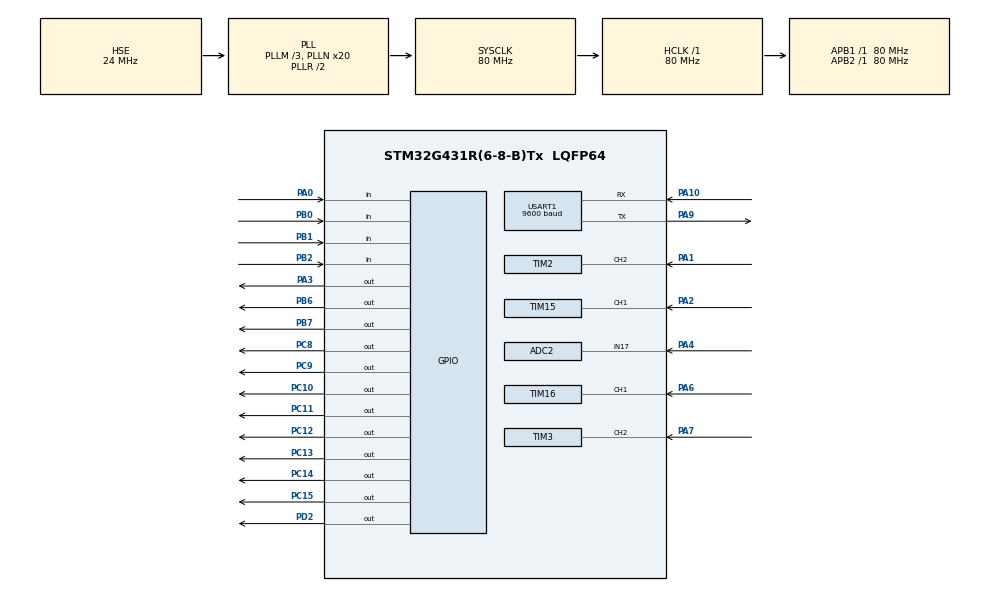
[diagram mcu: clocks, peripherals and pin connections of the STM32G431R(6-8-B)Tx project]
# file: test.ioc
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ADC2.Channel-5\#ChannelRegularConversion=ADC_CHANNEL_17
ADC2.NbrOfConversionFlag=1
ADC2.OffsetNumber-5\#ChannelRegularConversion=ADC_OFFSET_NONE
ADC2.Rank-5\#ChannelRegularConversion=1
ADC2.SamplingTime-5\#ChannelRegularConversion=ADC_SAMPLETIME_640CYCLES_5
Mcu.Family=STM32G4
Mcu.Name=STM32G431R(6-8-B)Tx
Mcu.Package=LQFP64
NVIC.PriorityGroup=NVIC_PRIORITYGROUP_4
NVIC.TIM1_BRK_TIM15_IRQn=true\:0\:0\:false\:false\:true\:true\:true
NVIC.TIM1_TRG_COM_TIM17_IRQn=true\:0\:0\:false\:false\:true\:true\:true
NVIC.TIM1_UP_TIM16_IRQn=true\:0\:0\:false\:false\:true\:true\:true
NVIC.TIM2_IRQn=true\:0\:0\:false\:false\:true\:true\:true
NVIC.TIM3_IRQn=true\:0\:0\:false\:false\:true\:true\:true
NVIC.TIM4_IRQn=true\:0\:0\:false\:false\:true\:true\:true
NVIC.USART1_IRQn=true\:0\:0\:false\:false\:true\:true\:true
PA0.GPIO_PuPd=GPIO_PULLUP
PA0.Signal=GPIO_Input
PA1.Signal=S_TIM2_CH2
PA10.Mode=Asynchronous
PA10.Signal=USART1_RX
PA13.Mode=Serial_Wire
PA13.Signal=SYS_JTMS-SWDIO
PA14.Mode=Serial_Wire
PA14.Signal=SYS_JTCK-SWCLK
PA2.Signal=S_TIM15_CH1
PA3.Signal=GPIO_Output
PA4.Mode=IN17-Single-Ended
PA4.Signal=ADC2_IN17
PA6.Signal=S_TIM16_CH1
PA7.Signal=S_TIM3_CH2
PA9.Mode=Asynchronous
PA9.Signal=USART1_TX
PB0.GPIO_PuPd=GPIO_PULLUP
PB0.Signal=GPIO_Input
PB1.GPIO_PuPd=GPIO_PULLUP
PB1.Signal=GPIO_Input
PB2.GPIO_PuPd=GPIO_PULLUP
PB2.Signal=GPIO_Input
PB6.Signal=GPIO_Output
PB7.GPIO_Speed=GPIO_SPEED_FREQ_HIGH
PB7.Signal=GPIO_Output
PC10.PinState=GPIO_PIN_SET
PC10.Signal=GPIO_Output
PC11.PinState=GPIO_PIN_SET
PC11.Signal=GPIO_Output
PC12.PinState=GPIO_PIN_SET
PC12.Signal=GPIO_Output
PC13.PinState=GPIO_PIN_SET
PC13.Signal=GPIO_Output
PC14-OSC32_IN.PinState=GPIO_PIN_SET
PC14-OSC32_IN.Signal=GPIO_Output
PC15-OSC32_OUT.PinState=GPIO_PIN_SET
PC15-OSC32_OUT.Signal=GPIO_Output
PC8.PinState=GPIO_PIN_SET
PC8.Signal=GPIO_Output
PC9.PinState=GPIO_PIN_SET
PC9.Signal=GPIO_Output
PD2.Signal=GPIO_Output
PF0-OSC_IN.Mode=HSE-External-Oscillator
PF0-OSC_IN.Signal=RCC_OSC_IN
PF1-OSC_OUT.Mode=HSE-External-Oscillator
PF1-OSC_OUT.Signal=RCC_OSC_OUT
ProjectManager.HeapSize=0x200
ProjectManager.StackSize=0x400
ProjectManager.TargetToolchain=MDK-ARM V5.32
RCC.ADC12Freq_Value=80000000
RCC.AHBFreq_Value=80000000
RCC.APB1Freq_Value=80000000
RCC.APB1TimFreq_Value=80000000
RCC.APB2Freq_Value=80000000
RCC.APB2TimFreq_Value=80000000
RCC.CortexFreq_Value=80000000
RCC.EXTERNAL_CLOCK_VALUE=12288000
RCC.HCLKFreq_Value=80000000
RCC.HSE_VALUE=24000000
RCC.HSI48_VALUE=48000000
RCC.HSI_VALUE=16000000
RCC.LSE_VALUE=32768
RCC.PLLM=RCC_PLLM_DIV3
RCC.PLLN=20
RCC.PLLSourceVirtual=RCC_PLLSOURCE_HSE
RCC.RTCClockSelection=RCC_RTCCLKSOURCE_HSE_DIV32
RCC.SYSCLKFreq_VALUE=80000000
RCC.SYSCLKSource=RCC_SYSCLKSOURCE_PLLCLK
RCC.USBFreq_Value=80000000
RCC.VCOOutputFreq_Value=160000000
RTC.AsynchPrediv=125
RTC.Hours=23
RTC.Minutes=59
RTC.Month=RTC_MONTH_MARCH
RTC.Seconds=55
RTC.SynchPrediv=6000
RTC.WeekDay=RTC_WEEKDAY_FRIDAY
RTC.Year=24
SH.S_TIM15_CH1.0=TIM15_CH1,Input_Capture1_from_TI1
SH.S_TIM16_CH1.0=TIM16_CH1,Input_Capture1_from_TI1
SH.S_TIM2_CH2.0=TIM2_CH2,Input_Capture2_from_TI2
SH.S_TIM3_CH2.0=TIM3_CH2,Input_Capture2_from_TI2
TIM15.Channel-Input_Capture1_from_TI1=TIM_CHANNEL_1
TIM15.Prescaler=80-1
TIM16.Channel=TIM_CHANNEL_1
TIM16.ICPolarity_CH1=TIM_INPUTCHANNELPOLARITY_BOTHEDGE
TIM16.PeriodNoDither=65535
TIM16.Prescaler=80-1
TIM17.PeriodNoDither=65535
TIM17.Prescaler=80-1
TIM2.Channel-Input_Capture2_from_TI2=TIM_CHANNEL_2
TIM2.CounterMode=TIM_COUNTERMODE_UP
TIM2.PeriodNoDither=65535
TIM2.Prescaler=80-1
TIM3.Channel-Input_Capture2_from_TI2=TIM_CHANNEL_2
TIM3.ICPolarity_CH2=TIM_INPUTCHANNELPOLARITY_BOTHEDGE
TIM3.Prescaler=80-1
TIM4.PeriodNoDither=10000-1
TIM4.Prescaler=80-1
USART1.BaudRate=9600
USART1.VirtualMode-Asynchronous=VM_ASYNC
VP_RTC_VS_RTC_Activate.Mode=RTC_Enabled
VP_RTC_VS_RTC_Calendar.Mode=RTC_Calendar
VP_SYS_VS_DBSignals.Mode=DisableDeadBatterySignals
VP_TIM15_VS_ClockSourceINT.Mode=Internal
VP_TIM16_VS_ClockSourceINT.Mode=Enable_Timer
VP_TIM17_VS_ClockSourceINT.Mode=Enable_Timer
VP_TIM2_VS_ClockSourceINT.Mode=Internal
VP_TIM3_VS_ClockSourceINT.Mode=Internal
VP_TIM4_VS_ClockSourceINT.Mode=Internal
board=custom

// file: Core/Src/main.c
/* USER CODE BEGIN Header */
/**
 ******************************************************************************
 * @file           : main.c
 * @brief          : Main program body
 ******************************************************************************
 * @attention
 *
 * Copyright (c) 2024 STMicroelectronics.
 * All rights reserved.
 *
 * This software is licensed under terms that can be found in the LICENSE file
 * in the root directory of this software component.
 * If no LICENSE file comes with this software, it is provided AS-IS.
 *
 ******************************************************************************
 */
/* USER CODE END Header */
#include "main.h"
#include "adc.h"
#include "rtc.h"
#include "tim.h"
#include "usart.h"
#include "gpio.h"

/* USER CODE BEGIN Includes */
#include "LED.h"
#include "lcd.h"
#include "stdio.h"
#include "string.h"
#include "Key.h"
#include "interrupt.h"
#include "badc.h"
#include "i2c - hal.h"
#include "PWM.h"
#include "seg_LED.h"
#include "adc_key.h"
#include "ds18b20.h"
#include "dht11.h"
/* USER CODE END Includes */

/* USER CODE BEGIN PTD */

/*执行速度控制变量*/
__IO uint32_t uwTick_LED_Speed_Ctrl;
__IO uint32_t uwTick_KEY_Speed_Ctrl;
__IO uint32_t uwTick_LCD_Speed_Ctrl;
__IO uint32_t uwTick_RTC_Speed_Ctrl;
__IO uint32_t uwTick_Time_Count;

/* USER CODE END PTD */

/* USER CODE BEGIN PD */
/*全局变量区*/
uint8_t ucLED;

uint8_t LCD_String_Disp[21]; // 显示屏显示数据存储数组
uint8_t LCD_Disp_Change = 0; // 显示屏切换界面变量
uint8_t LCD_Line_Change = 0; // 显示屏选择行 1-第一行 2-第二行 3-第三行 默认为0不选择 无高亮文本

uint8_t PA6_duty = 10, PA7_duty = 10;
uint16_t PA6_Frq = 100, PA7_Frq = 200;

uint8_t EEPROM_Save[4] = {10, 10}; // EEPROM芯片中存取的数据
uint8_t EEPROM_Disp[4] = {10, 10}; // EEPROM数据显示数组

uint8_t segBuff[3]; // Seg数码管显示数组

ADC2_ChannelValues adcValues; // ADC多通道扫描数值结构体
uint8_t ADC_Key;              // ADC_KEY按键值

int Ds_Temp; // ds18b20温度值

// DHT11数据   data[0]表示湿度整数 data[1]表示湿度小数 ;data[2]表示温度整数 data[3]表示温度小数；
uint8_t DHT11[4];

uint16_t Light_Value;   // 光敏电阻阻值
uint8_t refesh_flag;    // 刷新数据标志位
uint8_t refesh_ok_flag; // 刷新完成标志位

float a_value, b_value; // 角度数据a 角度数据b
float a_value_old, b_value_old;
float a_value_save[5], b_value_save[5]; // 存储的5个数据，需要根据时间先后排序

uint16_t f_value;         // 频率数据
float ax_value, bx_value; // 角度数据变化量
uint8_t Mode_flag;        // 0--A 按键触发  1--光敏电阻触发

uint16_t Pax_value = 20, Pbx_value = 20, Pf_value = 1000;

// 用于存储时间和日期的结构体
RTC_TimeTypeDef RTC_Time = {0};
RTC_DateTypeDef RTC_Date = {0};
char dateTimeBuffer[50]; // 存储日期时间字符串

/*拓展变量区*/
extern uint8_t single_key_flag[4]; // 按键单击
extern uint8_t double_key_flag[4]; // 按键双击
extern uint8_t long_key_flag[4];   // 按键长按
// extern uint16_t frq1, frq2;        // 输入捕获测量的频率
// extern float duty1, duty2;         // 占空比
extern uint32_t RP[4];

extern char rxdata[30]; // 串口接收数组
extern uint8_t rxdat;
extern unsigned char rx_pointer;

/* USER CODE END PD */

/* USER CODE BEGIN PM */

/*子函数声明区*/

void LCD_Proc(void);
void KEY_Proc(void);
void LED_Proc(void);
void RTC_Proc(void);
void ADC_Proc(void);
void USART_Proc(void);
void Save_digital_Proc(float *str, float value);
void bubbleSort(float arr[], int n);

/* USER CODE END PM */

void SystemClock_Config(void);

int main(void)
{

  /* MCU Configuration--------------------------------------------------------*/

  /* Reset of all peripherals, Initializes the Flash interface and the Systick. */
  HAL_Init();

  /* Configure the system clock */
  SystemClock_Config();

  /* Initialize all configured peripherals */
  MX_GPIO_Init();
  MX_TIM2_Init();
  MX_TIM16_Init();
  MX_TIM17_Init();
  MX_TIM3_Init();
  MX_TIM4_Init();
  MX_ADC2_Init();
  MX_USART1_UART_Init();
  MX_RTC_Init();
  MX_TIM15_Init();
  /* USER CODE BEGIN 2 */

  /*LED灯初始化*/
  LED_Init();

  /*LCD显示屏初始化*/
  LCD_Init();
  LCD_Clear(Black);
  LCD_SetBackColor(Black);
  LCD_SetTextColor(White);

  /*定时器4基本中断开启,按键中断定时器 时间到就进中断检测按键是否按下*/
  HAL_TIM_Base_Start_IT(&htim4);

  // /*定时器16通道1 PWM生成,PA6 引脚PWM生成定时器*/
  // HAL_TIM_PWM_Start(&htim16, TIM_CHANNEL_1);

  // /*定时器17通道1 PWM生成,PA7 引脚PWM生成定时器*/
  // HAL_TIM_PWM_Start(&htim17, TIM_CHANNEL_1);

  /*定时器16通道1 输入捕获中断开启,PA6引脚*/
  HAL_TIM_IC_Start_IT(&htim16, TIM_CHANNEL_1);

  /*定时器17通道1 输入捕获中断开启,PA7引脚*/
  HAL_TIM_IC_Start_IT(&htim17, TIM_CHANNEL_1);

  /*定时器15通道1 输入捕获中断开启,PA2引脚*/
  HAL_TIM_IC_Start_IT(&htim15, TIM_CHANNEL_1);

  // __HAL_TIM_SET_COMPARE(&htim16, TIM_CHANNEL_1, PA6_duty);
  // __HAL_TIM_SET_COMPARE(&htim17, TIM_CHANNEL_1, PA7_duty);

  /*定时器2通道1 输入捕获中断开启,PA15引脚*/
  HAL_TIM_IC_Start_IT(&htim2, TIM_CHANNEL_1);
  /*定时器2通道2 输入捕获中断开启,PA15引脚*/
  HAL_TIM_IC_Start_IT(&htim2, TIM_CHANNEL_2);

  /*定时器3通道1 输入捕获中断开启,PB4引脚*/
  HAL_TIM_IC_Start_IT(&htim3, TIM_CHANNEL_1);
  /*定时器3通道2 输入捕获中断开启,PB4引脚*/
  HAL_TIM_IC_Start_IT(&htim3, TIM_CHANNEL_2);

  // HAL_ADCEx_Calibration_Start(&hadc1, ADC_SINGLE_ENDED); // 校准ADC1，PB12引脚
  HAL_ADCEx_Calibration_Start(&hadc2, ADC_SINGLE_ENDED); // 校准ADC2，PB15引脚

  /********************************串口接收中断开启***********************************************************/
  HAL_UART_Receive_IT(&huart1, &rxdat, 1);

  /********************************EEPROM存储读取***********************************************************/
  I2C_24c02_Read((uint8_t *)&EEPROM_Save[3], 0x37, 1); // 读取一次判断是否第一次上电

  if (EEPROM_Save[3] != 9) // 初次上电 占空比为10，10
  {
    EEPROM_Save[3] = 9; // 将该位的值改为9写入eeprom中 用于判断非第一次上电 确保再次上电读取eeprom中设置的阈值 以免第一次直接赋值0
    I2C_24c02_Write((uint8_t *)&EEPROM_Save[3], 0x37, 1);
    HAL_Delay(10);
    I2C_24c02_Write((uint8_t *)EEPROM_Save, 0x00, 2); // 将阈值写入EEPROM中
  }
  else // 再次上电读取eeprom中设置的阈值 更新显示的阈
  {
    I2C_24c02_Read(EEPROM_Save, 0x00, 2); // 读取EEPROM中的值
    HAL_Delay(10);
    EEPROM_Disp[0] = EEPROM_Save[0];
    EEPROM_Disp[1] = EEPROM_Save[1];
  }
  /********************************EEPROM存储读取***********************************************************/

  /* USER CODE END 2 */

  /* Infinite loop */
  while (1)
  {

    /* USER CODE BEGIN 3 */
    /*代码写在该行下面 否则会被初始化*/

    LCD_Proc();
    KEY_Proc();
    LED_Proc();
    RTC_Proc();
    ADC_Proc();

    if (rx_pointer != 0)
    {
      int temp = rx_pointer;
      HAL_Delay(1);
      if (temp == rx_pointer)
        USART_Proc(); // 完成接收
    }
  }
  /* USER CODE END 3 */
}

void SystemClock_Config(void)
{
  RCC_OscInitTypeDef RCC_OscInitStruct = {0};
  RCC_ClkInitTypeDef RCC_ClkInitStruct = {0};

  /** Configure the main internal regulator output voltage
   */
  HAL_PWREx_ControlVoltageScaling(PWR_REGULATOR_VOLTAGE_SCALE1);
  /** Initializes the RCC Oscillators according to the specified parameters
   * in the RCC_OscInitTypeDef structure.
   */
  RCC_OscInitStruct.OscillatorType = RCC_OSCILLATORTYPE_HSE;
  RCC_OscInitStruct.HSEState = RCC_HSE_ON;
  RCC_OscInitStruct.PLL.PLLState = RCC_PLL_ON;
  RCC_OscInitStruct.PLL.PLLSource = RCC_PLLSOURCE_HSE;
  RCC_OscInitStruct.PLL.PLLM = RCC_PLLM_DIV3;
  RCC_OscInitStruct.PLL.PLLN = 20;
  RCC_OscInitStruct.PLL.PLLP = RCC_PLLP_DIV2;
  RCC_OscInitStruct.PLL.PLLQ = RCC_PLLQ_DIV2;
  RCC_OscInitStruct.PLL.PLLR = RCC_PLLR_DIV2;
  if (HAL_RCC_OscConfig(&RCC_OscInitStruct) != HAL_OK)
  {
    Error_Handler();
  }
  /** Initializes the CPU, AHB and APB buses clocks
   */
  RCC_ClkInitStruct.ClockType = RCC_CLOCKTYPE_HCLK | RCC_CLOCKTYPE_SYSCLK | RCC_CLOCKTYPE_PCLK1 | RCC_CLOCKTYPE_PCLK2;
  RCC_ClkInitStruct.SYSCLKSource = RCC_SYSCLKSOURCE_PLLCLK;
  RCC_ClkInitStruct.AHBCLKDivider = RCC_SYSCLK_DIV1;
  RCC_ClkInitStruct.APB1CLKDivider = RCC_HCLK_DIV1;
  RCC_ClkInitStruct.APB2CLKDivider = RCC_HCLK_DIV1;

  if (HAL_RCC_ClockConfig(&RCC_ClkInitStruct, FLASH_LATENCY_2) != HAL_OK)
  {
    Error_Handler();
  }
}

/* USER CODE BEGIN 4 */

/*****************************************LED灯控制函数***************************************************/
void LED_Proc(void)
{
  if ((uwTick - uwTick_LED_Speed_Ctrl) < 200)
    return;
  uwTick_LED_Speed_Ctrl = uwTick; // 200ms执行一次

  // ucLED ^= 0x01;  //异或运算 相同为0，不同为1

  if (ax_value > Pax_value)
    ucLED |= 0x01;
  else
    ucLED &= 0x0E;

  if (bx_value > Pbx_value)
    ucLED |= 0x02;
  else
    ucLED &= 0x0D;

  if (f_value > Pf_value)
    ucLED |= 0x04;
  else
    ucLED &= 0x0B;

  if (!Mode_flag)
    ucLED |= 0x08;
  else
    ucLED &= 0x07;

  if ((90.0f - a_value + b_value) < 10.0f)
    ucLED |= 0x10;
  else
    ucLED &= 0x0f;

  LED_Disp(ucLED);
}

/*****************************************显示屏控制函数***************************************************/
void LCD_Proc(void)
{
  if ((uwTick - uwTick_LCD_Speed_Ctrl) < 100)
    return;
  uwTick_LCD_Speed_Ctrl = uwTick;

  f_value = RP[2];

  Light_Value = Get_ADC_Average(&hadc2, 10);

  if (Light_Value > 3950 && refesh_flag == 0)
  {
    refesh_flag = 1;
  }
  else if (Light_Value <= 3950)
  {
    refesh_flag = 0;
    refesh_ok_flag = 0;
  }

  if (refesh_flag && Mode_flag == 1 && refesh_ok_flag == 0)
  {
    a_value_old = a_value;
    a_value = RP[0] * 2.25f - 22.5f;
    if (RP[0] <= 10)
      a_value = 0.0f;
    else if (RP[0] >= 90)
      a_value = 180.0f;

    ax_value = a_value - a_value_old;
    if (ax_value < 0)
      ax_value = -ax_value;

    b_value_old = b_value;
    b_value = RP[1] * 1.125f - 11.25f;
    if (RP[1] <= 10)
      b_value = 0.0f;
    else if (RP[1] >= 90)
      b_value = 90.0f;

    bx_value = b_value - b_value_old;
    if (bx_value < 0)
      bx_value = -bx_value;

    Save_digital_Proc(a_value_save, a_value);
    Save_digital_Proc(b_value_save, b_value);

    refesh_ok_flag = 1;
  }

  if (LCD_Disp_Change == 0)
  {
    LCD_SetTextColor(White); // 初始文本颜色 防止受上一个对文本颜色的改变影响

    memset(LCD_String_Disp, 0, sizeof(LCD_String_Disp));
    sprintf((char *)LCD_String_Disp, "DATA");
    LCD_DisplayStringAtLineColumn(Line2, Col9, LCD_String_Disp);

    memset(LCD_String_Disp, 0, sizeof(LCD_String_Disp));
    sprintf((char *)LCD_String_Disp, "a:%.1f  ", a_value);
    LCD_DisplayStringAtLineColumn(Line3, Col4, LCD_String_Disp);

    memset(LCD_String_Disp, 0, sizeof(LCD_String_Disp));
    sprintf((char *)LCD_String_Disp, "b:%.1f  ", b_value);
    LCD_DisplayStringAtLineColumn(Line4, Col4, LCD_String_Disp);

    memset(LCD_String_Disp, 0, sizeof(LCD_String_Disp));
    sprintf((char *)LCD_String_Disp, "f:%dHz  ", f_value);
    LCD_DisplayStringAtLineColumn(Line5, Col4, LCD_String_Disp);

    memset(LCD_String_Disp, 0, sizeof(LCD_String_Disp));
    sprintf((char *)LCD_String_Disp, "ax:%.0f  ", ax_value);
    LCD_DisplayStringAtLineColumn(Line7, Col4, LCD_String_Disp);

    memset(LCD_String_Disp, 0, sizeof(LCD_String_Disp));
    sprintf((char *)LCD_String_Disp, "bx:%.0f  ", bx_value);
    LCD_DisplayStringAtLineColumn(Line8, Col4, LCD_String_Disp);

    memset(LCD_String_Disp, 0, sizeof(LCD_String_Disp));
    sprintf((char *)LCD_String_Disp, "mode:%c  ", Mode_flag ? 'B' : 'A');
    LCD_DisplayStringAtLineColumn(Line9, Col4, LCD_String_Disp);
  }
  else
  {
    LCD_SetTextColor(White); // 初始文本颜色 防止受上一个对文本颜色的改变影响

    memset(LCD_String_Disp, 0, sizeof(LCD_String_Disp));
    sprintf((char *)LCD_String_Disp, "PARA");
    LCD_DisplayStringAtLineColumn(Line2, Col9, LCD_String_Disp);

    memset(LCD_String_Disp, 0, sizeof(LCD_String_Disp));
    sprintf((char *)LCD_String_Disp, "Pax:%d  ", Pax_value);
    LCD_DisplayStringAtLineColumn(Line3, Col4, LCD_String_Disp);

    memset(LCD_String_Disp, 0, sizeof(LCD_String_Disp));
    sprintf((char *)LCD_String_Disp, "Pbx:%d  ", Pbx_value);
    LCD_DisplayStringAtLineColumn(Line4, Col4, LCD_String_Disp);

    memset(LCD_String_Disp, 0, sizeof(LCD_String_Disp));
    sprintf((char *)LCD_String_Disp, "Pf:%d  ", Pf_value);
    LCD_DisplayStringAtLineColumn(Line5, Col4, LCD_String_Disp);
  }
}

/*****************************************按键控制函数***************************************************/

void KEY_Proc(void)
{
  if ((uwTick - uwTick_KEY_Speed_Ctrl) < 50)
    return;
  uwTick_KEY_Speed_Ctrl = uwTick; // 50ms执行一次

  if (single_key_flag[0] == 1) // 按键1单击刷新显示屏
  {
    LCD_Disp_Change ^= 1;     // 0-主界面 1-次界面
    if (LCD_Disp_Change == 0) // 返回主界面时保存设置的值
    {
    }
    LCD_Clear(Black);
    single_key_flag[0] = 0;
  }

  if (single_key_flag[1] == 1) // 按键2单击
  {
    if (LCD_Disp_Change) // 参数界面
    {
      // Pax Pbx 加10 最高60
      Pax_value += 10;
      Pbx_value += 10;
      if (Pax_value > 60)
      {
        Pax_value = 10;
        Pbx_value = 10;
      }
    }
    single_key_flag[1] = 0;
  }

  if (single_key_flag[2] == 1) // 按键3单击
  {
    if (LCD_Disp_Change) // 参数界面
    {
      // Pf加1000 最高10000
      Pf_value += 1000;
      if (Pf_value > 10000)
        Pf_value = 1000;
    }
    else // 数据界面
    {
      // 切换触发模式
      Mode_flag ^= 0x01;
    }
    single_key_flag[2] = 0;
  }

  if (single_key_flag[3] == 1) // 按键4单击
  {

    // 在按键模式下 触发一次数据刷新
    if (!Mode_flag)
    {
      a_value_old = a_value;
      a_value = RP[0] * 2.25f - 22.5f;
      if (RP[0] <= 10)
        a_value = 0.0f;
      else if (RP[0] >= 90)
        a_value = 180.0f;

      ax_value = a_value - a_value_old;
      if (ax_value < 0)
        ax_value = -ax_value;

      b_value_old = b_value;
      b_value = RP[1] * 1.125f - 11.25f;
      if (RP[1] <= 10)
        b_value = 0.0f;
      else if (RP[1] >= 90)
        b_value = 90.0f;

      bx_value = b_value - b_value_old;
      if (bx_value < 0)
        bx_value = -bx_value;

      Save_digital_Proc(a_value_save, a_value);
      Save_digital_Proc(b_value_save, b_value);
    }

    single_key_flag[3] = 0;
  }
}

/*****************************************ADC处理函数***************************************************/

void ADC_Proc(void)
{
  adcValues = Read_ADC2_Channels();
}

/*****************************************串口接收函数***************************************************/

void USART_Proc(void)
{

  if (rx_pointer > 0)
  {
    if (rx_pointer == 2)
    {
      if ((rxdata[0] == 'a' && rxdata[1] == '?') || (rxdata[0] == 'b' && rxdata[1] == '?'))
      {
        if (rxdata[0] == 'a')
          printf("a:%.1f\r\n", a_value);

        if (rxdata[0] == 'b')
          printf("b:%.1f\r\n", b_value);
      }
      else
      {
        printf("error\r\n");
      }
    }

    if (rx_pointer == 3)
    {
      if ((rxdata[0] == 'a' && rxdata[1] == 'a' && rxdata[2] == '?') || (rxdata[0] == 'b' && rxdata[1] == 'b' && rxdata[2] == '?'))
      {
        if (rxdata[0] == 'a')
        {
          printf("aa:%.1f-%.1f-%.1f-%.1f-%.1f\r\n", a_value_save[0], a_value_save[1], a_value_save[2], a_value_save[3], a_value_save[4]);
        }

        if (rxdata[0] == 'b')
        {
          printf("bb:%.1f-%.1f-%.1f-%.1f-%.1f\r\n", b_value_save[0], b_value_save[1], b_value_save[2], b_value_save[3], b_value_save[4]);
        }
      }
      else if (rxdata[0] == 'q' && (rxdata[1] == 'a' || rxdata[1] == 'b') && rxdata[2] == '?')
      {
        if (rxdata[1] == 'a')
        {
          static float s2b[5];
          memcpy(s2b, a_value_save, 5 * sizeof(float));
          bubbleSort(s2b, 5);
          printf("qa:%.1f-%.1f-%.1f-%.1f-%.1f\r\n", s2b[0], s2b[1], s2b[2], s2b[3], s2b[4]);
        }

        if (rxdata[1] == 'b')
        {
          static float s2b[5];
          memcpy(s2b, b_value_save, 5 * sizeof(float));
          bubbleSort(s2b, 5);
          printf("qb:%.1f-%.1f-%.1f-%.1f-%.1f\r\n", s2b[0], s2b[1], s2b[2], s2b[3], s2b[4]);
        }
      }
      else
      {
        printf("error\r\n");
      }
    }

    rx_pointer = 0;
    memset(rxdata, 0, 30);
  }
}

void Save_digital_Proc(float *str, float value)
{
  for (int i = 4; i > 0; i--)
  {
    str[i] = str[i - 1];
  }

  str[0] = value;
}

void bubbleSort(float arr[], int n)
{
  int i, j;
  float temp;
  for (i = 0; i < n - 1; i++)
  {
    // Last i elements are already in place
    for (j = 0; j < n - i - 1; j++)
    {
      if (arr[j] > arr[j + 1])
      {
        // swap arr[j] and arr[j+1]
        temp = arr[j];
        arr[j] = arr[j + 1];
        arr[j + 1] = temp;
      }
    }
  }
}

/*RTC时钟配置*/

void RTC_Proc(void)
{
  if ((uwTick - uwTick_RTC_Speed_Ctrl) < 1000)
    return;
  uwTick_RTC_Speed_Ctrl = uwTick; // 1s执行一次

  // 获取当前时间和日期
  HAL_RTC_GetTime(&hrtc, &RTC_Time, RTC_FORMAT_BIN);
  HAL_RTC_GetDate(&hrtc, &RTC_Date, RTC_FORMAT_BIN);

  // printf("Date: %02d-%02d-%02d Time: %02d:%02d:%02d\r\n", RTC_Date.Year, RTC_Date.Month, RTC_Date.Date,
  //        RTC_Time.Hours, RTC_Time.Minutes, RTC_Time.Seconds);
}

/*串口重定向*/
int fputc(int ch, FILE *f)
{
  char c = ch;
  HAL_UART_Transmit(&huart1, (uint8_t *)&c, 1, 50);
  return ch;
}

/* USER CODE END 4 */

void Error_Handler(void)
{
  __disable_irq();
  while (1)
  {
  }
}
